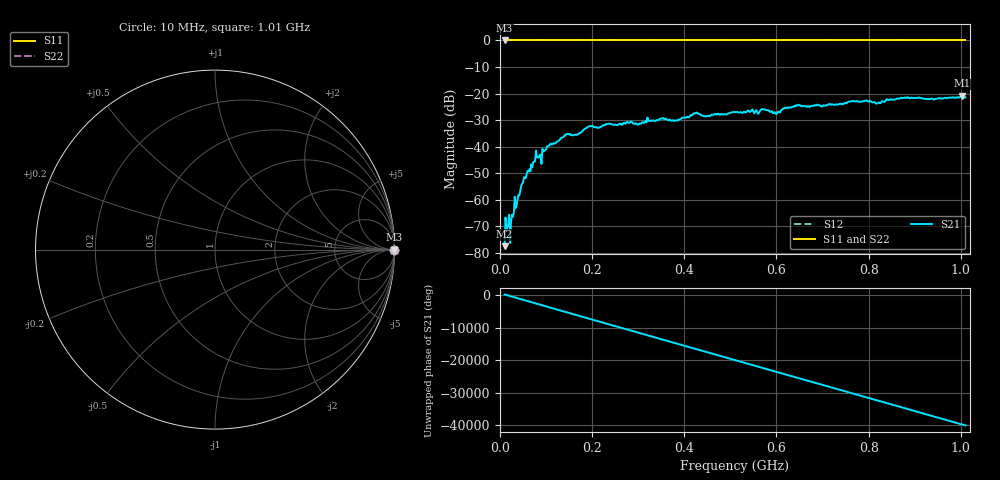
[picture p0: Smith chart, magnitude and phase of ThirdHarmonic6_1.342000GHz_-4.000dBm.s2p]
! 8/16/2025 3:03:31 PM
! C:\ANRITSUVNA\TEMP\TEMP.S2P
! CHANNEL.1
! TR.MEASUREMENT
! RAW.DATA
! RF.CORRECTION.OFF
! AVERAGING.OFF
! IF.BANDWIDTH: 5KHZ
! SWEEPTYPE:  FREQ.SWEEP(Linear)
! Reference Plane Port Info
! PORT:  PORT1  PORT2
! DISTANCE:  0  m  0  m
! TIME:  0  s  0  s
! PHASE.OFFSET:  0  deg.  0  deg.
! LOSS:  0  dB  0  dB
! REF.LOSS:  0  dB  0  dB
! REF.FREQ:  0  Hz  0  Hz
! Power Info
! POWER:  -20  dBm  -20  dBm
! EFF.POWER:  -20  dBm  -20  dBm
! SOURCE.ATTEN:  0  dB  0  dB
! TEST.ATTEN:  0  dB  0  dB
# GHZ S RI R 50.0
! FREQ.GHZ  S11RE  S11IM  S21RE  S21IM  S12RE  S12IM  S22RE  S22IM
!; PortSelection: Port_12
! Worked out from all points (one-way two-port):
!   501 points, 10 MHz to 1.01 GHz, reference 50 ohm
!   highest |S21| = -20.81 dB at 1.002 GHz (marker M1); lowest = -77.4 dB at 10 MHz (marker M2)
!   lowest |S11| = 0.0 dB at 10 MHz (marker M3)
!   |S11| at or under -10 dB: nowhere
!   |S22| runs from 0.0 to 0.0 dB; largest |S21 - S12| = 1.1
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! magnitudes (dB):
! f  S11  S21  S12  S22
! 10 MHz  0.0  -77.4  0.0  0.0
! 16 MHz  0.0  -70.1  0.0  0.0
! 18 MHz  0.0  -69.5  0.0  0.0
! 26 MHz  0.0  -65.6  0.0  0.0
! 28 MHz  0.0  -66.3  0.0  0.0
! 50 MHz  0.0  -53.5  0.0  0.0
! 76 MHz  0.0  -45.6  0.0  0.0
! 144 MHz  0.0  -35.3  0.0  0.0
! 178 MHz  0.0  -34.2  0.0  0.0
! 196 MHz  0.0  -32.2  0.0  0.0
! 344 MHz  0.0  -30.0  0.0  0.0
! 382 MHz  0.0  -30.1  0.0  0.0
! 424 MHz  0.0  -27.4  0.0  0.0
! 450 MHz  0.0  -28.4  0.0  0.0
! 510 MHz  0.0  -27.0  0.0  0.0
! 572 MHz  0.0  -25.9  0.0  0.0
! 596 MHz  0.0  -27.0  0.0  0.0
! 644 MHz  0.0  -24.5  0.0  0.0
! 678 MHz  0.0  -24.6  0.0  0.0
! 844 MHz  0.0  -22.5  0.0  0.0
! 1.002 GHz  0.0  -20.8  0.0  0.0
! 1.01 GHz  0.0  -21.4  0.0  0.0
